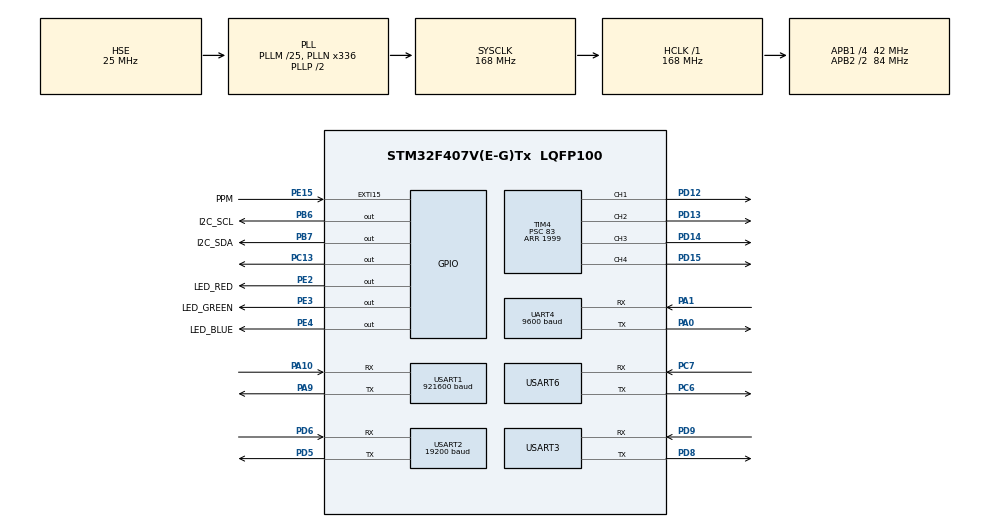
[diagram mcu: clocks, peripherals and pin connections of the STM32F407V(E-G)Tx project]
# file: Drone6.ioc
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Dma.Request0=USART1_RX
Dma.Request1=USART1_TX
Dma.Request2=USART6_TX
Dma.Request3=USART3_RX
Dma.Request4=USART2_RX
Dma.USART1_RX.0.Direction=DMA_PERIPH_TO_MEMORY
Dma.USART1_RX.0.FIFOMode=DMA_FIFOMODE_DISABLE
Dma.USART1_RX.0.Instance=DMA2_Stream2
Dma.USART1_RX.0.MemDataAlignment=DMA_MDATAALIGN_BYTE
Dma.USART1_RX.0.MemInc=DMA_MINC_ENABLE
Dma.USART1_RX.0.Mode=DMA_CIRCULAR
Dma.USART1_RX.0.PeriphDataAlignment=DMA_PDATAALIGN_BYTE
Dma.USART1_RX.0.PeriphInc=DMA_PINC_DISABLE
Dma.USART1_RX.0.Priority=DMA_PRIORITY_LOW
Dma.USART1_TX.1.Direction=DMA_MEMORY_TO_PERIPH
Dma.USART1_TX.1.FIFOMode=DMA_FIFOMODE_DISABLE
Dma.USART1_TX.1.Instance=DMA2_Stream7
Dma.USART1_TX.1.MemDataAlignment=DMA_MDATAALIGN_BYTE
Dma.USART1_TX.1.MemInc=DMA_MINC_ENABLE
Dma.USART1_TX.1.Mode=DMA_NORMAL
Dma.USART1_TX.1.PeriphDataAlignment=DMA_PDATAALIGN_BYTE
Dma.USART1_TX.1.PeriphInc=DMA_PINC_DISABLE
Dma.USART1_TX.1.Priority=DMA_PRIORITY_HIGH
Dma.USART2_RX.4.Direction=DMA_PERIPH_TO_MEMORY
Dma.USART2_RX.4.FIFOMode=DMA_FIFOMODE_DISABLE
Dma.USART2_RX.4.Instance=DMA1_Stream5
Dma.USART2_RX.4.MemDataAlignment=DMA_MDATAALIGN_BYTE
Dma.USART2_RX.4.MemInc=DMA_MINC_ENABLE
Dma.USART2_RX.4.Mode=DMA_CIRCULAR
Dma.USART2_RX.4.PeriphDataAlignment=DMA_PDATAALIGN_BYTE
Dma.USART2_RX.4.PeriphInc=DMA_PINC_DISABLE
Dma.USART2_RX.4.Priority=DMA_PRIORITY_LOW
Dma.USART3_RX.3.Direction=DMA_PERIPH_TO_MEMORY
Dma.USART3_RX.3.FIFOMode=DMA_FIFOMODE_DISABLE
Dma.USART3_RX.3.Instance=DMA1_Stream1
Dma.USART3_RX.3.MemDataAlignment=DMA_MDATAALIGN_BYTE
Dma.USART3_RX.3.MemInc=DMA_MINC_ENABLE
Dma.USART3_RX.3.Mode=DMA_NORMAL
Dma.USART3_RX.3.PeriphDataAlignment=DMA_PDATAALIGN_BYTE
Dma.USART3_RX.3.PeriphInc=DMA_PINC_DISABLE
Dma.USART3_RX.3.Priority=DMA_PRIORITY_LOW
Dma.USART6_TX.2.Direction=DMA_MEMORY_TO_PERIPH
Dma.USART6_TX.2.FIFOMode=DMA_FIFOMODE_DISABLE
Dma.USART6_TX.2.Instance=DMA2_Stream6
Dma.USART6_TX.2.MemDataAlignment=DMA_MDATAALIGN_BYTE
Dma.USART6_TX.2.MemInc=DMA_MINC_ENABLE
Dma.USART6_TX.2.Mode=DMA_NORMAL
Dma.USART6_TX.2.PeriphDataAlignment=DMA_PDATAALIGN_BYTE
Dma.USART6_TX.2.PeriphInc=DMA_PINC_DISABLE
Dma.USART6_TX.2.Priority=DMA_PRIORITY_LOW
FREERTOS.INCLUDE_vTaskDelayUntil=1
FREERTOS.Tasks01=defaultTask,-3,128,StartDefaultTask,Default,NULL,Dynamic,NULL,NULL;Task_50Hz,0,128,Task50Hz,Default,NULL,Dynamic,NULL,NULL;Task_10Hz,0,128,Task10Hz,Default,NULL,Dynamic,NULL,NULL;Task_100Hz,0,256,Task100Hz,Default,NULL,Dynamic,NULL,NULL
FREERTOS.configCHECK_FOR_STACK_OVERFLOW=0
FREERTOS.configENABLE_FPU=1
FREERTOS.configTOTAL_HEAP_SIZE=20480
Mcu.Family=STM32F4
Mcu.Name=STM32F407V(E-G)Tx
Mcu.Package=LQFP100
Mcu.UserConstants=Drone_USART1,huart1;Drone_USART6,huart6
NVIC.DMA1_Stream1_IRQn=true\:7\:0\:true\:false\:true\:true\:false\:true
NVIC.DMA1_Stream5_IRQn=true\:7\:0\:true\:false\:true\:true\:false\:true
NVIC.DMA2_Stream2_IRQn=true\:6\:0\:true\:false\:true\:true\:false\:true
NVIC.DMA2_Stream6_IRQn=true\:6\:0\:true\:false\:true\:true\:false\:true
NVIC.DMA2_Stream7_IRQn=true\:6\:0\:true\:false\:true\:true\:false\:true
NVIC.EXTI15_10_IRQn=true\:6\:0\:true\:false\:true\:true\:true\:true
NVIC.PriorityGroup=NVIC_PRIORITYGROUP_4
NVIC.TIM2_IRQn=true\:5\:0\:true\:false\:true\:true\:true\:true
NVIC.UART4_IRQn=true\:5\:0\:false\:false\:true\:true\:true\:true
NVIC.USART1_IRQn=true\:6\:0\:true\:false\:true\:true\:true\:true
NVIC.USART2_IRQn=true\:6\:0\:true\:false\:true\:true\:true\:true
NVIC.USART3_IRQn=true\:6\:0\:true\:false\:true\:true\:true\:true
NVIC.USART6_IRQn=true\:14\:0\:true\:false\:true\:true\:true\:true
PA0-WKUP.Mode=Asynchronous
PA0-WKUP.Signal=UART4_TX
PA1.Mode=Asynchronous
PA1.Signal=UART4_RX
PA10.Mode=Asynchronous
PA10.Signal=USART1_RX
PA13.Mode=Serial_Wire
PA13.Signal=SYS_JTMS-SWDIO
PA14.Mode=Serial_Wire
PA14.Signal=SYS_JTCK-SWCLK
PA9.Mode=Asynchronous
PA9.Signal=USART1_TX
PB6.GPIO_Label=I2C_SCL
PB6.GPIO_ModeDefaultOutputPP=GPIO_MODE_OUTPUT_OD
PB6.Signal=GPIO_Output
PB7.GPIO_Label=I2C_SDA
PB7.GPIO_ModeDefaultOutputPP=GPIO_MODE_OUTPUT_OD
PB7.Signal=GPIO_Output
PC13-ANTI_TAMP.PinState=GPIO_PIN_SET
PC13-ANTI_TAMP.Signal=GPIO_Output
PC6.Mode=Asynchronous
PC6.Signal=USART6_TX
PC7.Mode=Asynchronous
PC7.Signal=USART6_RX
PD12.Signal=S_TIM4_CH1
PD13.Signal=S_TIM4_CH2
PD14.Signal=S_TIM4_CH3
PD15.Signal=S_TIM4_CH4
PD5.Mode=Asynchronous
PD5.Signal=USART2_TX
PD6.Mode=Asynchronous
PD6.Signal=USART2_RX
PD8.Mode=Asynchronous
PD8.Signal=USART3_TX
PD9.Mode=Asynchronous
PD9.Signal=USART3_RX
PE15.GPIO_Label=PPM
PE15.GPIO_PuPd=GPIO_PULLDOWN
PE15.Signal=GPXTI15
PE2.GPIO_Label=LED_RED
PE2.GPIO_Speed=GPIO_SPEED_FREQ_LOW
PE2.PinState=GPIO_PIN_SET
PE2.Signal=GPIO_Output
PE3.GPIO_Label=LED_GREEN
PE3.PinState=GPIO_PIN_SET
PE3.Signal=GPIO_Output
PE4.GPIO_Label=LED_BLUE
PE4.PinState=GPIO_PIN_SET
PE4.Signal=GPIO_Output
PH0-OSC_IN.Mode=HSE-External-Oscillator
PH0-OSC_IN.Signal=RCC_OSC_IN
PH1-OSC_OUT.Mode=HSE-External-Oscillator
PH1-OSC_OUT.Signal=RCC_OSC_OUT
ProjectManager.HeapSize=0x200
ProjectManager.StackSize=0x400
ProjectManager.TargetToolchain=Makefile
RCC.48MHZClocksFreq_Value=84000000
RCC.AHBFreq_Value=168000000
RCC.APB1CLKDivider=RCC_HCLK_DIV4
RCC.APB1Freq_Value=42000000
RCC.APB1TimFreq_Value=84000000
RCC.APB2CLKDivider=RCC_HCLK_DIV2
RCC.APB2Freq_Value=84000000
RCC.APB2TimFreq_Value=168000000
RCC.CortexFreq_Value=168000000
RCC.HCLKFreq_Value=168000000
RCC.HSE_VALUE=25000000
RCC.HSI_VALUE=16000000
RCC.LSE_VALUE=32768
RCC.PLLM=25
RCC.PLLN=336
RCC.PLLSourceVirtual=RCC_PLLSOURCE_HSE
RCC.SYSCLKFreq_VALUE=168000000
RCC.SYSCLKSource=RCC_SYSCLKSOURCE_PLLCLK
RCC.VCOOutputFreq_Value=336000000
SH.S_TIM4_CH1.0=TIM4_CH1,PWM Generation1 CH1
SH.S_TIM4_CH2.0=TIM4_CH2,PWM Generation2 CH2
SH.S_TIM4_CH3.0=TIM4_CH3,PWM Generation3 CH3
SH.S_TIM4_CH4.0=TIM4_CH4,PWM Generation4 CH4
STMicroelectronics.X-CUBE-ALGOBUILD.1.0.0.LibraryCcDSPOoLibraryJjDSPOoLibrary=true
TIM2.AutoReloadPreload=TIM_AUTORELOAD_PRELOAD_ENABLE
TIM2.Period=9999
TIM2.Prescaler=83
TIM4.Channel-PWM\ Generation1\ CH1=TIM_CHANNEL_1
TIM4.Channel-PWM\ Generation2\ CH2=TIM_CHANNEL_2
TIM4.Channel-PWM\ Generation3\ CH3=TIM_CHANNEL_3
TIM4.Channel-PWM\ Generation4\ CH4=TIM_CHANNEL_4
TIM4.Period=1999
TIM4.Prescaler=83
UART4.BaudRate=9600
UART4.VirtualMode=Asynchronous
USART1.BaudRate=921600
USART1.VirtualMode=VM_ASYNC
USART2.BaudRate=19200
USART2.VirtualMode=VM_ASYNC
USART3.VirtualMode=VM_ASYNC
USART6.VirtualMode=VM_ASYNC
VP_FREERTOS_VS_CMSIS_V1.Mode=CMSIS_V1
VP_STMicroelectronics.X-CUBE-ALGOBUILD_VS_DSPOoLibraryJjLibrary_1.0.0.Mode=DSPOoLibraryJjLibrary
VP_TIM2_VS_ClockSourceINT.Mode=Internal
VP_TIM4_VS_ClockSourceINT.Mode=Internal
board=custom

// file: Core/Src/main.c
/* USER CODE BEGIN Header */
/**
  ******************************************************************************
  * @file           : main.c
  * @brief          : Main program body
  ******************************************************************************
  * @attention
  *
  * <h2><center>&copy; Copyright (c) 2021 STMicroelectronics.
  * All rights reserved.</center></h2>
  *
  * This software component is licensed by ST under Ultimate Liberty license
  * SLA0044, the "License"; You may not use this file except in compliance with
  * the License. You may obtain a copy of the License at:
  *                             www.st.com/SLA0044
  *
  ******************************************************************************
  */
/* USER CODE END Header */
#include "main.h"
#include "cmsis_os.h"

TIM_HandleTypeDef htim2;
TIM_HandleTypeDef htim4;

UART_HandleTypeDef huart4;
UART_HandleTypeDef huart1;
UART_HandleTypeDef huart2;
UART_HandleTypeDef huart3;
UART_HandleTypeDef huart6;
DMA_HandleTypeDef hdma_usart1_rx;
DMA_HandleTypeDef hdma_usart1_tx;
DMA_HandleTypeDef hdma_usart2_rx;
DMA_HandleTypeDef hdma_usart3_rx;
DMA_HandleTypeDef hdma_usart6_tx;

osThreadId defaultTaskHandle;
osThreadId Task_50HzHandle;
osThreadId Task_10HzHandle;
osThreadId Task_100HzHandle;
/* USER CODE BEGIN PV */
Drone_Type MyDrone;
/* USER CODE END PV */

void SystemClock_Config(void);
static void MX_GPIO_Init(void);
static void MX_DMA_Init(void);
static void MX_TIM2_Init(void);
static void MX_USART6_UART_Init(void);
static void MX_USART1_UART_Init(void);
static void MX_UART4_Init(void);
static void MX_USART3_UART_Init(void);
static void MX_USART2_UART_Init(void);
static void MX_TIM4_Init(void);
void StartDefaultTask(void const * argument);
void Task50Hz(void const * argument);
void Task10Hz(void const * argument);
void Task100Hz(void const * argument);

int main(void)
{

  /* MCU Configuration--------------------------------------------------------*/

  /* Reset of all peripherals, Initializes the Flash interface and the Systick. */
  HAL_Init();

  /* Configure the system clock */
  SystemClock_Config();

  /* Initialize all configured peripherals */
  MX_GPIO_Init();
  MX_DMA_Init();
  MX_TIM2_Init();
  MX_USART6_UART_Init();
  MX_USART1_UART_Init();
  MX_UART4_Init();
  MX_USART3_UART_Init();
  MX_USART2_UART_Init();
  MX_TIM4_Init();
  /* USER CODE BEGIN 2 */
  Drone_Init();
  // static uint8_t id;
  // BMI055_Read_ID();
  // QMC5883_ReadID();
  // BMI088_Read_ID();
  // SPL06_ReadID((0x77<<1));
  // // // SPL06_ReadID((0x77<<1));

  // uint8_t id=0;
  // id=MPU6050_GetDeviceID();

  // while (1)
  // {
  //   /* code */
    // MPU6050_GetRawData(MyDrone.Raw_AccData,MyDrone.Raw_GyroData);
    // ANO_SendData_AccGyro();
	  // HAL_Delay(10);
  // }
  /* USER CODE END 2 */

  /* Create the thread(s) */
  /* definition and creation of defaultTask */
  osThreadDef(defaultTask, StartDefaultTask, osPriorityIdle, 0, 128);
  defaultTaskHandle = osThreadCreate(osThread(defaultTask), NULL);

  /* definition and creation of Task_50Hz */
  osThreadDef(Task_50Hz, Task50Hz, osPriorityNormal, 0, 128);
  Task_50HzHandle = osThreadCreate(osThread(Task_50Hz), NULL);

  /* definition and creation of Task_10Hz */
  osThreadDef(Task_10Hz, Task10Hz, osPriorityNormal, 0, 128);
  Task_10HzHandle = osThreadCreate(osThread(Task_10Hz), NULL);

  /* definition and creation of Task_100Hz */
  osThreadDef(Task_100Hz, Task100Hz, osPriorityNormal, 0, 256);
  Task_100HzHandle = osThreadCreate(osThread(Task_100Hz), NULL);

  /* Start scheduler */
  osKernelStart();

  /* We should never get here as control is now taken by the scheduler */
  /* Infinite loop */
  while (1)
  {

  }
}

void SystemClock_Config(void)
{
  RCC_OscInitTypeDef RCC_OscInitStruct = {0};
  RCC_ClkInitTypeDef RCC_ClkInitStruct = {0};

  /** Configure the main internal regulator output voltage
  */
  __HAL_RCC_PWR_CLK_ENABLE();
  __HAL_PWR_VOLTAGESCALING_CONFIG(PWR_REGULATOR_VOLTAGE_SCALE1);
  /** Initializes the RCC Oscillators according to the specified parameters
  * in the RCC_OscInitTypeDef structure.
  */
  RCC_OscInitStruct.OscillatorType = RCC_OSCILLATORTYPE_HSE;
  RCC_OscInitStruct.HSEState = RCC_HSE_ON;
  RCC_OscInitStruct.PLL.PLLState = RCC_PLL_ON;
  RCC_OscInitStruct.PLL.PLLSource = RCC_PLLSOURCE_HSE;
  RCC_OscInitStruct.PLL.PLLM = 25;
  RCC_OscInitStruct.PLL.PLLN = 336;
  RCC_OscInitStruct.PLL.PLLP = RCC_PLLP_DIV2;
  RCC_OscInitStruct.PLL.PLLQ = 4;
  if (HAL_RCC_OscConfig(&RCC_OscInitStruct) != HAL_OK)
  {
    Error_Handler();
  }
  /** Initializes the CPU, AHB and APB buses clocks
  */
  RCC_ClkInitStruct.ClockType = RCC_CLOCKTYPE_HCLK|RCC_CLOCKTYPE_SYSCLK
                              |RCC_CLOCKTYPE_PCLK1|RCC_CLOCKTYPE_PCLK2;
  RCC_ClkInitStruct.SYSCLKSource = RCC_SYSCLKSOURCE_PLLCLK;
  RCC_ClkInitStruct.AHBCLKDivider = RCC_SYSCLK_DIV1;
  RCC_ClkInitStruct.APB1CLKDivider = RCC_HCLK_DIV4;
  RCC_ClkInitStruct.APB2CLKDivider = RCC_HCLK_DIV2;

  if (HAL_RCC_ClockConfig(&RCC_ClkInitStruct, FLASH_LATENCY_5) != HAL_OK)
  {
    Error_Handler();
  }
}

static void MX_TIM2_Init(void)
{

  TIM_ClockConfigTypeDef sClockSourceConfig = {0};
  TIM_MasterConfigTypeDef sMasterConfig = {0};

  htim2.Instance = TIM2;
  htim2.Init.Prescaler = 83;
  htim2.Init.CounterMode = TIM_COUNTERMODE_UP;
  htim2.Init.Period = 9999;
  htim2.Init.ClockDivision = TIM_CLOCKDIVISION_DIV1;
  htim2.Init.AutoReloadPreload = TIM_AUTORELOAD_PRELOAD_ENABLE;
  if (HAL_TIM_Base_Init(&htim2) != HAL_OK)
  {
    Error_Handler();
  }
  sClockSourceConfig.ClockSource = TIM_CLOCKSOURCE_INTERNAL;
  if (HAL_TIM_ConfigClockSource(&htim2, &sClockSourceConfig) != HAL_OK)
  {
    Error_Handler();
  }
  sMasterConfig.MasterOutputTrigger = TIM_TRGO_RESET;
  sMasterConfig.MasterSlaveMode = TIM_MASTERSLAVEMODE_DISABLE;
  if (HAL_TIMEx_MasterConfigSynchronization(&htim2, &sMasterConfig) != HAL_OK)
  {
    Error_Handler();
  }
  /* USER CODE BEGIN TIM2_Init 2 */
  HAL_TIM_Base_Start_IT(&htim2);
  /* USER CODE END TIM2_Init 2 */

}

static void MX_TIM4_Init(void)
{

  TIM_ClockConfigTypeDef sClockSourceConfig = {0};
  TIM_MasterConfigTypeDef sMasterConfig = {0};
  TIM_OC_InitTypeDef sConfigOC = {0};

  htim4.Instance = TIM4;
  htim4.Init.Prescaler = 83;
  htim4.Init.CounterMode = TIM_COUNTERMODE_UP;
  htim4.Init.Period = 1999;
  htim4.Init.ClockDivision = TIM_CLOCKDIVISION_DIV1;
  htim4.Init.AutoReloadPreload = TIM_AUTORELOAD_PRELOAD_DISABLE;
  if (HAL_TIM_Base_Init(&htim4) != HAL_OK)
  {
    Error_Handler();
  }
  sClockSourceConfig.ClockSource = TIM_CLOCKSOURCE_INTERNAL;
  if (HAL_TIM_ConfigClockSource(&htim4, &sClockSourceConfig) != HAL_OK)
  {
    Error_Handler();
  }
  if (HAL_TIM_PWM_Init(&htim4) != HAL_OK)
  {
    Error_Handler();
  }
  sMasterConfig.MasterOutputTrigger = TIM_TRGO_RESET;
  sMasterConfig.MasterSlaveMode = TIM_MASTERSLAVEMODE_DISABLE;
  if (HAL_TIMEx_MasterConfigSynchronization(&htim4, &sMasterConfig) != HAL_OK)
  {
    Error_Handler();
  }
  sConfigOC.OCMode = TIM_OCMODE_PWM1;
  sConfigOC.Pulse = 0;
  sConfigOC.OCPolarity = TIM_OCPOLARITY_HIGH;
  sConfigOC.OCFastMode = TIM_OCFAST_DISABLE;
  if (HAL_TIM_PWM_ConfigChannel(&htim4, &sConfigOC, TIM_CHANNEL_1) != HAL_OK)
  {
    Error_Handler();
  }
  if (HAL_TIM_PWM_ConfigChannel(&htim4, &sConfigOC, TIM_CHANNEL_2) != HAL_OK)
  {
    Error_Handler();
  }
  if (HAL_TIM_PWM_ConfigChannel(&htim4, &sConfigOC, TIM_CHANNEL_3) != HAL_OK)
  {
    Error_Handler();
  }
  if (HAL_TIM_PWM_ConfigChannel(&htim4, &sConfigOC, TIM_CHANNEL_4) != HAL_OK)
  {
    Error_Handler();
  }
  HAL_TIM_MspPostInit(&htim4);

}

static void MX_UART4_Init(void)
{

  huart4.Instance = UART4;
  huart4.Init.BaudRate = 9600;
  huart4.Init.WordLength = UART_WORDLENGTH_8B;
  huart4.Init.StopBits = UART_STOPBITS_1;
  huart4.Init.Parity = UART_PARITY_NONE;
  huart4.Init.Mode = UART_MODE_TX_RX;
  huart4.Init.HwFlowCtl = UART_HWCONTROL_NONE;
  huart4.Init.OverSampling = UART_OVERSAMPLING_16;
  if (HAL_UART_Init(&huart4) != HAL_OK)
  {
    Error_Handler();
  }

}

static void MX_USART1_UART_Init(void)
{

  huart1.Instance = USART1;
  huart1.Init.BaudRate = 921600;
  huart1.Init.WordLength = UART_WORDLENGTH_8B;
  huart1.Init.StopBits = UART_STOPBITS_1;
  huart1.Init.Parity = UART_PARITY_NONE;
  huart1.Init.Mode = UART_MODE_TX_RX;
  huart1.Init.HwFlowCtl = UART_HWCONTROL_NONE;
  huart1.Init.OverSampling = UART_OVERSAMPLING_16;
  if (HAL_UART_Init(&huart1) != HAL_OK)
  {
    Error_Handler();
  }

}

static void MX_USART2_UART_Init(void)
{

  huart2.Instance = USART2;
  huart2.Init.BaudRate = 19200;
  huart2.Init.WordLength = UART_WORDLENGTH_8B;
  huart2.Init.StopBits = UART_STOPBITS_1;
  huart2.Init.Parity = UART_PARITY_NONE;
  huart2.Init.Mode = UART_MODE_TX_RX;
  huart2.Init.HwFlowCtl = UART_HWCONTROL_NONE;
  huart2.Init.OverSampling = UART_OVERSAMPLING_16;
  if (HAL_UART_Init(&huart2) != HAL_OK)
  {
    Error_Handler();
  }

}

static void MX_USART3_UART_Init(void)
{

  huart3.Instance = USART3;
  huart3.Init.BaudRate = 115200;
  huart3.Init.WordLength = UART_WORDLENGTH_8B;
  huart3.Init.StopBits = UART_STOPBITS_1;
  huart3.Init.Parity = UART_PARITY_NONE;
  huart3.Init.Mode = UART_MODE_TX_RX;
  huart3.Init.HwFlowCtl = UART_HWCONTROL_NONE;
  huart3.Init.OverSampling = UART_OVERSAMPLING_16;
  if (HAL_UART_Init(&huart3) != HAL_OK)
  {
    Error_Handler();
  }
  /* USER CODE BEGIN USART3_Init 2 */
  __HAL_UART_ENABLE_IT(&huart3, UART_IT_IDLE);
  /* USER CODE END USART3_Init 2 */

}

static void MX_USART6_UART_Init(void)
{

  huart6.Instance = USART6;
  huart6.Init.BaudRate = 115200;
  huart6.Init.WordLength = UART_WORDLENGTH_8B;
  huart6.Init.StopBits = UART_STOPBITS_1;
  huart6.Init.Parity = UART_PARITY_NONE;
  huart6.Init.Mode = UART_MODE_TX_RX;
  huart6.Init.HwFlowCtl = UART_HWCONTROL_NONE;
  huart6.Init.OverSampling = UART_OVERSAMPLING_16;
  if (HAL_UART_Init(&huart6) != HAL_OK)
  {
    Error_Handler();
  }

}

static void MX_DMA_Init(void)
{

  /* DMA controller clock enable */
  __HAL_RCC_DMA2_CLK_ENABLE();
  __HAL_RCC_DMA1_CLK_ENABLE();

  /* DMA interrupt init */
  /* DMA1_Stream1_IRQn interrupt configuration */
  HAL_NVIC_SetPriority(DMA1_Stream1_IRQn, 7, 0);
  HAL_NVIC_EnableIRQ(DMA1_Stream1_IRQn);
  /* DMA1_Stream5_IRQn interrupt configuration */
  HAL_NVIC_SetPriority(DMA1_Stream5_IRQn, 7, 0);
  HAL_NVIC_EnableIRQ(DMA1_Stream5_IRQn);
  /* DMA2_Stream2_IRQn interrupt configuration */
  HAL_NVIC_SetPriority(DMA2_Stream2_IRQn, 6, 0);
  HAL_NVIC_EnableIRQ(DMA2_Stream2_IRQn);
  /* DMA2_Stream6_IRQn interrupt configuration */
  HAL_NVIC_SetPriority(DMA2_Stream6_IRQn, 6, 0);
  HAL_NVIC_EnableIRQ(DMA2_Stream6_IRQn);
  /* DMA2_Stream7_IRQn interrupt configuration */
  HAL_NVIC_SetPriority(DMA2_Stream7_IRQn, 6, 0);
  HAL_NVIC_EnableIRQ(DMA2_Stream7_IRQn);

}

static void MX_GPIO_Init(void)
{
  GPIO_InitTypeDef GPIO_InitStruct = {0};

  /* GPIO Ports Clock Enable */
  __HAL_RCC_GPIOE_CLK_ENABLE();
  __HAL_RCC_GPIOC_CLK_ENABLE();
  __HAL_RCC_GPIOH_CLK_ENABLE();
  __HAL_RCC_GPIOA_CLK_ENABLE();
  __HAL_RCC_GPIOD_CLK_ENABLE();
  __HAL_RCC_GPIOB_CLK_ENABLE();

  /*Configure GPIO pin Output Level */
  HAL_GPIO_WritePin(GPIOE, LED_RED_Pin|LED_GREEN_Pin|LED_BLUE_Pin, GPIO_PIN_SET);

  /*Configure GPIO pin Output Level */
  HAL_GPIO_WritePin(GPIOC, GPIO_PIN_13, GPIO_PIN_SET);

  /*Configure GPIO pin Output Level */
  HAL_GPIO_WritePin(GPIOB, I2C_SCL_Pin|I2C_SDA_Pin, GPIO_PIN_RESET);

  /*Configure GPIO pins : LED_RED_Pin LED_GREEN_Pin LED_BLUE_Pin */
  GPIO_InitStruct.Pin = LED_RED_Pin|LED_GREEN_Pin|LED_BLUE_Pin;
  GPIO_InitStruct.Mode = GPIO_MODE_OUTPUT_PP;
  GPIO_InitStruct.Pull = GPIO_NOPULL;
  GPIO_InitStruct.Speed = GPIO_SPEED_FREQ_LOW;
  HAL_GPIO_Init(GPIOE, &GPIO_InitStruct);

  /*Configure GPIO pin : PC13 */
  GPIO_InitStruct.Pin = GPIO_PIN_13;
  GPIO_InitStruct.Mode = GPIO_MODE_OUTPUT_PP;
  GPIO_InitStruct.Pull = GPIO_NOPULL;
  GPIO_InitStruct.Speed = GPIO_SPEED_FREQ_LOW;
  HAL_GPIO_Init(GPIOC, &GPIO_InitStruct);

  /*Configure GPIO pin : PPM_Pin */
  GPIO_InitStruct.Pin = PPM_Pin;
  GPIO_InitStruct.Mode = GPIO_MODE_IT_RISING;
  GPIO_InitStruct.Pull = GPIO_PULLDOWN;
  HAL_GPIO_Init(PPM_GPIO_Port, &GPIO_InitStruct);

  /*Configure GPIO pins : I2C_SCL_Pin I2C_SDA_Pin */
  GPIO_InitStruct.Pin = I2C_SCL_Pin|I2C_SDA_Pin;
  GPIO_InitStruct.Mode = GPIO_MODE_OUTPUT_OD;
  GPIO_InitStruct.Pull = GPIO_NOPULL;
  GPIO_InitStruct.Speed = GPIO_SPEED_FREQ_LOW;
  HAL_GPIO_Init(GPIOB, &GPIO_InitStruct);

  /* EXTI interrupt init*/
  HAL_NVIC_SetPriority(EXTI15_10_IRQn, 6, 0);
  HAL_NVIC_EnableIRQ(EXTI15_10_IRQn);

}

void StartDefaultTask(void const * argument)
{
  /* USER CODE BEGIN 5 */
  /* Infinite loop */
for(;;)
{
	// ANO_SendData_AccGyro();
	// osDelay(3);
	// ANO_SendData_Angle();
	// osDelay(3);
	// ANO_SendData_Mag();
	// osDelay(3);
	// ANO_SendData_Altitude();
	// osDelay(3);
	// ANO_SendData_PWM();
	// osDelay(3);
	// ANO_SendData_NAxisAcc();
	// osDelay(3);
	// ANO_SendData_NAxisVel();
	// osDelay(3);
	// ANO_SendData_NAxisPos();
	// osDelay(3);
	ANO_SendData_UserData();
	osDelay(3);
	ANO_SendData_UserData1();
	osDelay(3);
	ANO_SendData_UserData2();
	osDelay(3);
	ANO_SendData_UserData3();
	osDelay(3);
}
  /* USER CODE END 5 */
}

void Task50Hz(void const * argument)
{
  /* USER CODE BEGIN Task50Hz */
  static uint32_t PreviousWakeTime;
	PreviousWakeTime = osKernelSysTick();
  /* Infinite loop */
  for(;;)
  {
    Drone_ModeControl();
	  if(MyDrone.Mode!=Lock)
	  {
      osDelay(1);
      Drone_TargetSet();
	  }
    osDelayUntil(&PreviousWakeTime,20);
  }
  /* USER CODE END Task50Hz */
}

void Task10Hz(void const * argument)
{
  /* USER CODE BEGIN Task10Hz */
  static uint32_t PreviousWakeTime;
	PreviousWakeTime = osKernelSysTick();
  /* Infinite loop */
  for(;;)
  {
    HAL_GPIO_TogglePin(GPIOC,GPIO_PIN_13);
    osDelayUntil(&PreviousWakeTime,100);
  }
  /* USER CODE END Task10Hz */
}

void Task100Hz(void const * argument)
{
  /* USER CODE BEGIN Task100Hz */
  static uint32_t PreviousWakeTime;
	PreviousWakeTime = osKernelSysTick();
  /* Infinite loop */
  for(;;)
  {
    Drone_DataHandle();
    if(MyDrone.Mode!=Lock)
	  {
		  Drone_Control_100Hz();
	  }
    osDelayUntil(&PreviousWakeTime,10);
  }
  /* USER CODE END Task100Hz */
}

void Error_Handler(void)
{
  __disable_irq();
  while (1)
  {
  }
}

/************************ (C) COPYRIGHT STMicroelectronics *****END OF FILE****/
